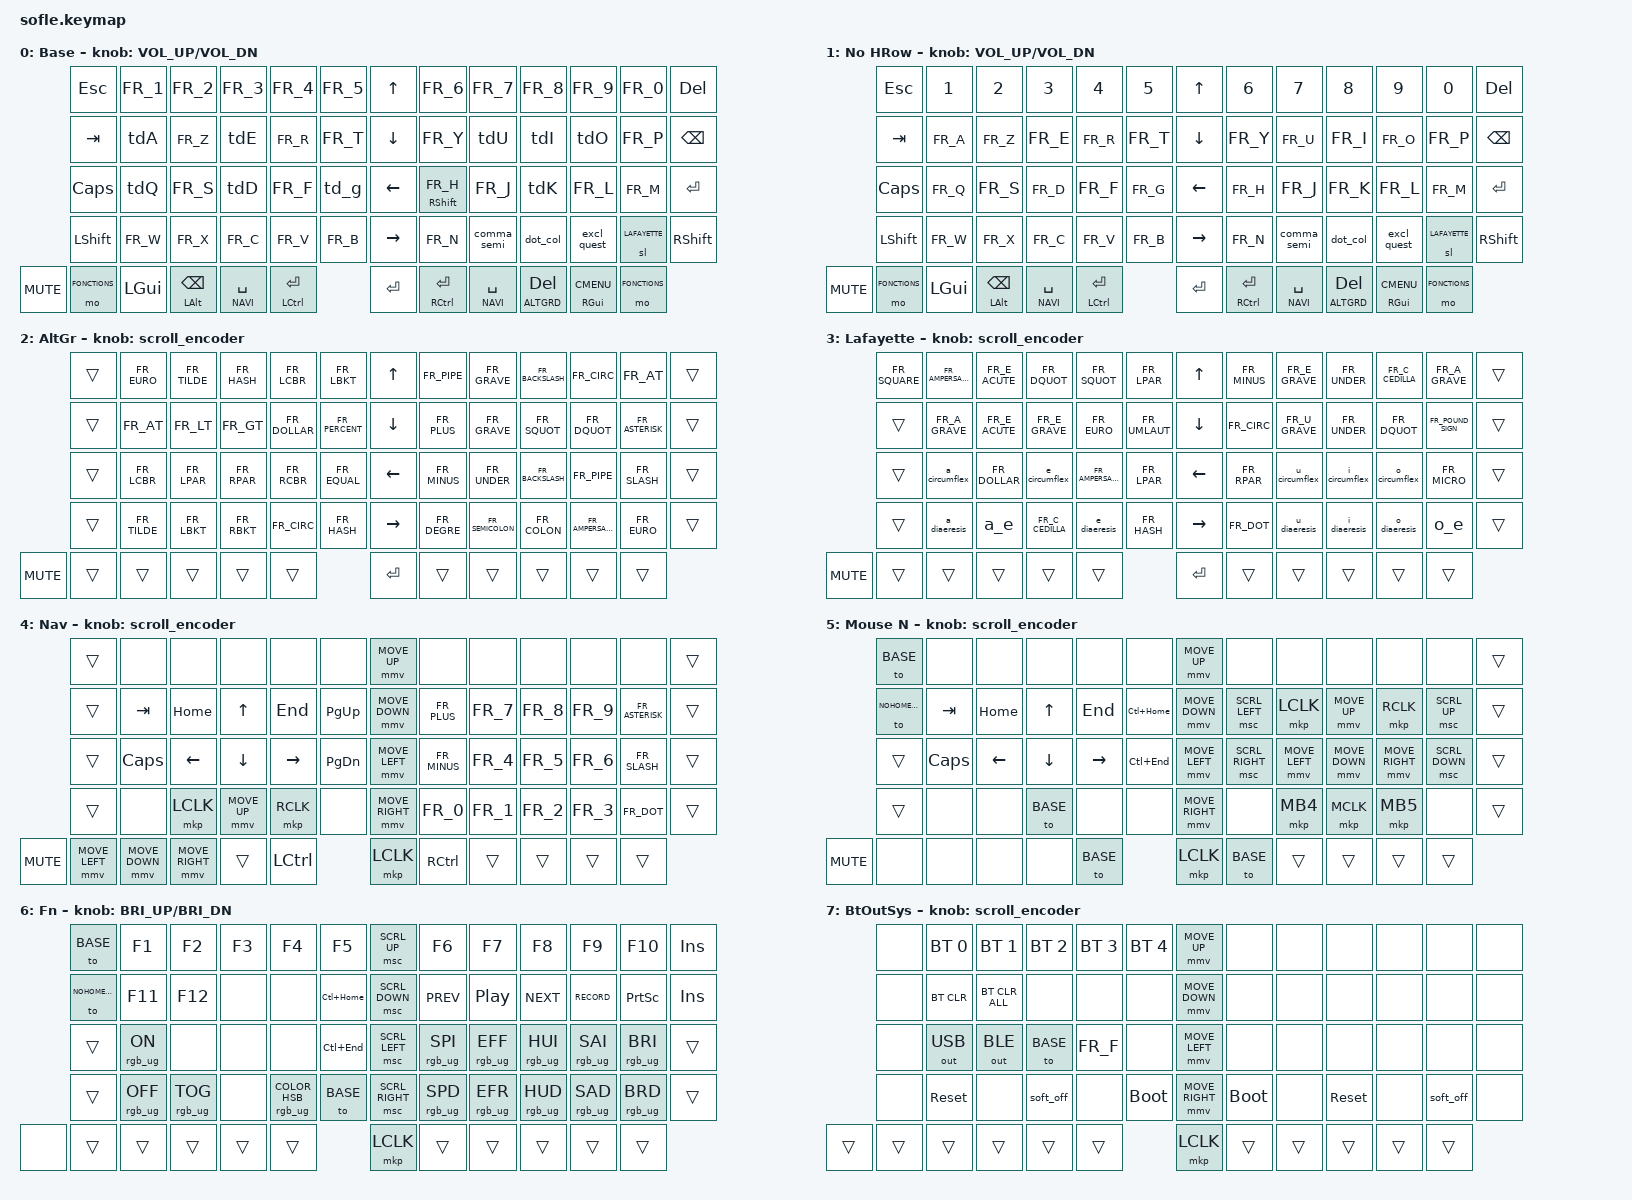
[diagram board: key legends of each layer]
#include <behaviors/mouse_keys.dtsi>
#include <behaviors.dtsi>
#include <dt-bindings/zmk/bt.h>
#include <dt-bindings/zmk/keys.h>
#include <dt-bindings/zmk/mouse.h>
#include <dt-bindings/zmk/outputs.h>
#include <dt-bindings/zmk/rgb.h>

// #include "locale/keys_fr.h"
#include "locale/keymap_fr.h"

#define ZMK_MOUSE_DEFAULT_MOVE_VAL 1200  // 600
#define ZMK_MOUSE_DEFAULT_SCRL_VAL 200    // 10

#define BASE 0
#define NOHOMEROW 1
#define ALTGRD 2
#define LAFAYETTE 3
#define NAVI 4
#define MOUSENAVI 5
#define FONCTIONS 6
#define BT_OUT_SYS 7

// #define RGB_UG_CUSTOM &rgb_ug RGB_COLOR_HSB(247,49,30)
#define RGB_UG_CUSTOM &rgb_ug RGB_COLOR_HSB(258,100,66)


#define HM_TAPPING_TERM 200

// &mt {
//     tapping-term-ms = <400>;
// };

/ {

   // Activate BT_OUT_SYS layer by pressing ALTGRD and FONCTIONS
    conditional_layers {
        compatible = "zmk,conditional-layers";
        adajust_layer {
            if-layers = <FONCTIONS ALTGRD>;
            then-layer = <BT_OUT_SYS>;
        };
    };

    behaviors {
        mmv {
            acceleration-exponent = <1>;      // 1
            time-to-max-speed-ms = <900>;     // 40
            delay-ms = <0>;                   // 0
        };

        msc {
            acceleration-exponent = <1>;      // 0
            time-to-max-speed-ms = <400>;     // 500
            delay-ms = <0>;                   // 10
        };

        // tdLCTRL: tap_dance_left_ctrl {
        //     compatible = "zmk,behavior-tap-dance";
        //     #binding-cells = <0>;
        //     tapping-term-ms = <HM_TAPPING_TERM>;
        //     // bindings = <&mt LCTRL BACKSPACE>, <&to MOUSENAVI>;
        //     bindings = <&mt LCTRL ENTER>, <&to MOUSENAVI>;
        // };

        // tdRCTRL: tap_dance_right_ctrl {
        //     compatible = "zmk,behavior-tap-dance";
        //     #binding-cells = <0>;
        //     tapping-term-ms = <HM_TAPPING_TERM>;
        //     bindings = <&mt RCTRL ENTER>, <&to MOUSENAVI>;
        // };

        tdA: tap_dance_a_grave {
            compatible = "zmk,behavior-tap-dance";
            #binding-cells = <0>;
            tapping-term-ms = <HM_TAPPING_TERM>;
            bindings = <&kp FR_A>, <&kp FR_A_GRAVE>;
        };
        // tdC: tap_dance_ctrl_c {
        //     compatible = "zmk,behavior-tap-dance";
        //     #binding-cells = <0>;
        //     tapping-term-ms = <HM_TAPPING_TERM>;
        //     bindings = <&kp FR_C>, <&kp LC(FR_C)>;
        // };
        tdD: tap_dance_dollar {
            compatible = "zmk,behavior-tap-dance";
            #binding-cells = <0>;
            tapping-term-ms = <HM_TAPPING_TERM>;
            bindings = <&kp FR_D>, <&kp FR_DOLLAR>;
        };
        tdE: tap_dance_e_aigu_grave {
            compatible = "zmk,behavior-tap-dance";
            #binding-cells = <0>;
            tapping-term-ms = <HM_TAPPING_TERM>;
            bindings = <&kp FR_E>, <&kp FR_E_ACUTE>, <&kp FR_E_GRAVE>;
        };
        tdI: tap_dance_squote {
            compatible = "zmk,behavior-tap-dance";
            #binding-cells = <0>;
            tapping-term-ms = <HM_TAPPING_TERM>;
            bindings = <&kp FR_I>, <&kp FR_SQUOT>;
        };
        tdK: tap_dance_ctrl_slash {
            compatible = "zmk,behavior-tap-dance";
            #binding-cells = <0>;
            tapping-term-ms = <HM_TAPPING_TERM>;
            bindings = <&kp FR_K>, <&kp LC(FR_SLASH)>;
        };
        tdO: tap_dance_dquote {
            compatible = "zmk,behavior-tap-dance";
            #binding-cells = <0>;
            tapping-term-ms = <HM_TAPPING_TERM>;
            bindings = <&kp FR_O>, <&kp FR_DQUOT>;
        };
        tdQ: tap_dance_slash {
            compatible = "zmk,behavior-tap-dance";
            #binding-cells = <0>;
            tapping-term-ms = <HM_TAPPING_TERM>;
            bindings = <&kp FR_Q>, <&kp FR_SLASH>;
        };
        // tdS: tap_dance_slash {
        //     compatible = "zmk,behavior-tap-dance";
        //     #binding-cells = <0>;
        //     tapping-term-ms = <HM_TAPPING_TERM>;
        //     bindings = <&kp FR_S>, <&kp FR_SLASH>;
        // };
        tdU: tap_dance_u_grave {
            compatible = "zmk,behavior-tap-dance";
            #binding-cells = <0>;
            tapping-term-ms = <HM_TAPPING_TERM>;
            bindings = <&kp FR_U>, <&kp FR_U_GRAVE>;
        };
        // tdV: tap_dance_ctrl_v {
        //     compatible = "zmk,behavior-tap-dance";
        //     #binding-cells = <0>;
        //     tapping-term-ms = <HM_TAPPING_TERM>;
        //     bindings = <&kp FR_V>, <&kp LC(FR_V)>;
        // };
        // tdX: tap_dance_ctrl_x {
        //     compatible = "zmk,behavior-tap-dance";
        //     #binding-cells = <0>;
        //     tapping-term-ms = <HM_TAPPING_TERM>;
        //     bindings = <&kp FR_X>, <&kp LC(FR_X)>;
        // };
        // tdZ: tap_dance_z_slash {
        //     compatible = "zmk,behavior-tap-dance";
        //     #binding-cells = <0>;
        //     tapping-term-ms = <HM_TAPPING_TERM>;
        //     bindings = <&kp FR_Z>, <&kp FR_SLASH>;
        // };

//        mt_shift_fr_g: mt_shift_fr_g {
//            compatible = "zmk,behavior-hold-tap";
//            #binding-cells = <0>;
//            label = "MT_LSHIFT_FR_G";
//            flavor = "hold-preferred";
//            tapping-term-ms = <HM_TAPPING_TERM>;
//            bindings = <&kp LSHIFT>, <&kp FR_G>;
//        };

        td_g: td_g {
            compatible = "zmk,behavior-tap-dance";
            #binding-cells = <0>;
            tapping-term-ms = <HM_TAPPING_TERM>;
            bindings = <&mt LSHIFT FR_G>, <&kp FR_EQUAL>;
        };


        tdCommaSemmi: tap_dance_comma_semi {
            compatible = "zmk,behavior-tap-dance";
            #binding-cells = <0>;
            tapping-term-ms = <HM_TAPPING_TERM>;
            bindings = <&kp FR_COMMA>, <&kp FR_SEMICOLON>;
        };
        tdDotCol: tap_dance_dot_col {
            compatible = "zmk,behavior-tap-dance";
            #binding-cells = <0>;
            tapping-term-ms = <HM_TAPPING_TERM>;
            bindings = <&kp FR_DOT>, <&kp FR_COLON>;
        };
        tdExclQuest: tap_dance_excl_quest {
            compatible = "zmk,behavior-tap-dance";
            #binding-cells = <0>;
            tapping-term-ms = <HM_TAPPING_TERM>;
            bindings = <&kp FR_EXCL>, <&kp FR_QUESTION>;
        };
        tdFn: tap_dance_function {
            compatible = "zmk,behavior-tap-dance";
            #binding-cells = <0>;
            tapping-term-ms = <HM_TAPPING_TERM>;
            bindings = <&mo FONCTIONS>, <&sl FONCTIONS>;
        };

        comma_semi: my_comma_semi {
            compatible = "zmk,behavior-mod-morph";
            #binding-cells = <0>;
            // bindings = <&kp FR_COMMA>, <&kp FR_SEMICOLON>;
            bindings = <&tdCommaSemmi>, <&kp FR_SEMICOLON>;
            mods = <(MOD_LSFT|MOD_RSFT)>;
        };
        dot_col: my_dot_colon {
            compatible = "zmk,behavior-mod-morph";
            #binding-cells = <0>;
            // bindings = <&kp FR_DOT>, <&kp FR_COLON>;
            bindings = <&tdDotCol>, <&kp FR_COLON>;
            mods = <(MOD_LSFT|MOD_RSFT)>;
        };
        excl_quest: my_excl_quest {
            compatible = "zmk,behavior-mod-morph";
            #binding-cells = <0>;
            // bindings = <&kp FR_EXCL>, <&kp FR_QUESTION>;
            bindings = <&tdExclQuest>, <&kp FR_QUESTION>;
            mods = <(MOD_LSFT|MOD_RSFT)>;
        };

        hm: homerow_mods {
            compatible = "zmk,behavior-hold-tap";
            #binding-cells = <2>;
            tapping-term-ms = <150>;
            quick-tap-ms = <0>;
            // flavor = "tap-preferred";
            flavor = "balanced";
            bindings = <&kp>, <&kp>;
        };

        macros {

            a_circumflex: a_circumflex{
                compatible = "zmk,behavior-macro";
                #binding-cells = <0>;
                wait-ms = <30>;
                tap-ms = <40>;
                bindings = <&kp FR_CIRC &kp FR_A>;
            };
            e_circumflex: e_circumflex{
                compatible = "zmk,behavior-macro";
                #binding-cells = <0>;
                wait-ms = <30>;
                tap-ms = <40>;
                bindings = <&kp FR_CIRC &kp FR_E>;
            };
            i_circumflex: i_circumflex{
                compatible = "zmk,behavior-macro";
                #binding-cells = <0>;
                wait-ms = <30>;
                tap-ms = <40>;
                bindings = <&kp FR_CIRC &kp FR_I>;
            };
            o_circumflex: o_circumflex{
                compatible = "zmk,behavior-macro";
                #binding-cells = <0>;
                wait-ms = <30>;
                tap-ms = <40>;
                bindings = <&kp FR_CIRC &kp FR_O>;
            };
            u_circumflex: u_circumflex{
                compatible = "zmk,behavior-macro";
                #binding-cells = <0>;
                wait-ms = <30>;
                tap-ms = <40>;
                bindings = <&kp FR_CIRC &kp FR_U>;
            };

            a_diaeresis: a_diaeresis{
                compatible = "zmk,behavior-macro";
                #binding-cells = <0>;
                wait-ms = <30>;
                tap-ms = <40>;
                bindings = <&kp FR_UMLAUT &kp FR_A>;
            };
            e_diaeresis: e_diaeresis{
                compatible = "zmk,behavior-macro";
                #binding-cells = <0>;
                wait-ms = <30>;
                tap-ms = <40>;
                bindings = <&kp FR_UMLAUT &kp FR_E>;
            };
            i_diaeresis: i_diaeresis{
                compatible = "zmk,behavior-macro";
                #binding-cells = <0>;
                wait-ms = <30>;
                tap-ms = <40>;
                bindings = <&kp FR_UMLAUT &kp FR_I>;
            };
            o_diaeresis: o_diaeresis{
                compatible = "zmk,behavior-macro";
                #binding-cells = <0>;
                wait-ms = <30>;
                tap-ms = <40>;
                bindings = <&kp FR_UMLAUT &kp FR_O>;
            };
            u_diaeresis: u_diaeresis{
                compatible = "zmk,behavior-macro";
                #binding-cells = <0>;
                wait-ms = <30>;
                tap-ms = <40>;
                bindings = <&kp FR_UMLAUT &kp FR_U>;
            };

            a_e: a_e {
                compatible = "zmk,behavior-macro";
                #binding-cells = <0>;
                wait-ms = <30>;
                tap-ms = <40>;
                bindings
                    = <&macro_press   &kp LCTRL &kp LSHIFT>
                    , <&macro_tap     &kp U>
                    , <&macro_release &kp LCTRL &kp LSHIFT>
                    // , <&macro_tap     &kp N0 &kp N0 &kp E &kp N6>
                    , <&macro_tap     &kp FR_0 &kp FR_0 &kp E &kp FR_6 &kp ENTER>
                    ;
            };

            o_e: o_e {
                compatible = "zmk,behavior-macro";
                #binding-cells = <0>;
                wait-ms = <30>;
                tap-ms = <40>;
                bindings
                    = <&macro_press   &kp LCTRL &kp LSHIFT>
                    , <&macro_tap     &kp U>
                    , <&macro_release &kp LCTRL &kp LSHIFT>
                    // , <&macro_tap     &kp N0 &kp N1 &kp N5 &kp N3>
                    , <&macro_tap     &kp FR_0 &kp FR_1 &kp FR_5 &kp FR_3 &kp ENTER>
                    ;
            };

        };

    };

    scroll_encoder: scroll_encoder {
        compatible = "zmk,behavior-sensor-rotate";
        #sensor-binding-cells = <0>;
        bindings = <&msc SCRL_DOWN>, <&msc SCRL_UP>;

        tap-ms = <30>;
    };

    keymap {
        compatible = "zmk,keymap";

        Base {
// -------------------------------------------------------------------------------------------------------------------------------------------------------------------------------------------------------------------------------------------
// |            |      ESC       |        1       |        2       |        3       |        4       |        5       |   UP_ARROW     |        6       |        7       |        8       |        9       |        0       |      DEL       |
// |            |      TAB       |       tdA      |        Z       |       tdE      |        R       |        T       |   DOWN_ARROW   |        Y       |       tdU      |       tdI      |       tdO      |        P       |      BKSPC     |
// |            |     CAPS       |       tdQ      |        S       |       tdD      |        F       | &mt LSHIFT G = |   LEFT_ARROW   |  &mt RSHIFT H  |        J       |       tdK      |        L       |        M       |      ENTER     |
// |            |     LSHFT      |        W       |        X       |        C       |        V       |        B       |   RIGHT_ARROW  |        N       |      ,  ;      |       . :      |       ! ?      | &sl LAFAYETTE  |      SHIFT     |
// | C_MUTE     |                | &mo FONCTIONS  |    LEFT_GUI    | LALT BACKSPACE | &lt NAVI SPACE |  LCTRL ENTER   |      ENTER     |  RCTRL ENTER   | &lt NAVI SPACE | &lt ALTGRD DEL |     K_CMENU    | &mo FONCTIONS  |                |

            bindings = <
                 &kp ESC          &kp FR_1         &kp FR_2         &kp FR_3         &kp FR_4         &kp FR_5         &kp UP_ARROW     &kp FR_6         &kp FR_7         &kp FR_8         &kp FR_9         &kp FR_0         &kp DELETE
                 &kp TAB          &tdA             &kp FR_Z         &tdE             &kp FR_R         &kp FR_T         &kp DOWN_ARROW   &kp FR_Y         &tdU             &tdI             &tdO             &kp FR_P         &kp BACKSPACE
                 &kp CAPS         &tdQ             &kp FR_S         &tdD             &kp FR_F         &td_g            &kp LEFT_ARROW   &mt RSHIFT FR_H  &kp FR_J         &tdK             &kp FR_L         &kp FR_M         &kp ENTER
                 &kp LSHFT        &kp FR_W         &kp FR_X         &kp FR_C         &kp FR_V         &kp FR_B         &kp RIGHT_ARROW  &kp FR_N         &comma_semi      &dot_col         &excl_quest      &sl LAFAYETTE    &kp RSHFT
&kp C_MUTE                        &mo FONCTIONS    &kp LEFT_GUI   &mt LALT BACKSPACE &lt NAVI SPACE   &mt LCTRL ENTER  &kp ENTER        &mt RCTRL ENTER  &lt NAVI SPACE  &lt ALTGRD DELETE &mt RIGHT_GUI K_CMENU  &mo FONCTIONS

            >;

            sensor-bindings = <&inc_dec_kp C_VOLUME_UP C_VOL_DN>;
            display-name = "Base";
        };

        NoHomeRow {
// -------------------------------------------------------------------------------------------------------------------------------------------------------------------------------------------------------------------------------------------
// |            |      ESC       |        N1      |        N2      |        N3      |        N4      |        N5      |   UP_ARROW     |        N6      |        N7      |        N8      |        N9      |        N0      |      DEL       |
// |            |      TAB       |        A       |        Z       |        E       |        R       |        T       |   DOWN_ARROW   |        Y       |        U       |        I       |        O       |        P       |      BKSPC     |
// |            |     CAPS       |        Q       |        S       |        D       |        F       |        G       |   LEFT_ARROW   |        H       |        J       |        K       |        L       |        M       |      ENTER     |
// |            |     LSHFT      |        W       |        X       |        C       |        V       |        B       |   RIGHT_ARROW  |        N       |      ,  ;      |       . :      |       ! ?      | &sl LAFAYETTE  |      SHIFT     |
// | C_MUTE     |                | &mo FONCTIONS  |    LEFT_GUI    | LALT BACKSPACE | &lt NAVI SPACE |  LCTRL ENTER   |      ENTER     |  RCTRL ENTER   | &lt NAVI SPACE | &lt ALTGRD DEL |     K_CMENU    | &mo FONCTIONS  |                |

            bindings = <
                 &kp ESC          &kp N1           &kp N2           &kp N3           &kp N4           &kp N5           &kp UP_ARROW     &kp N6           &kp N7           &kp N8           &kp N9           &kp N0           &kp DELETE
                 &kp TAB          &kp FR_A         &kp FR_Z         &kp FR_E         &kp FR_R         &kp FR_T         &kp DOWN_ARROW   &kp FR_Y         &kp FR_U         &kp FR_I         &kp FR_O         &kp FR_P         &kp BACKSPACE
                 &kp CAPS         &kp FR_Q         &kp FR_S         &kp FR_D         &kp FR_F         &kp FR_G         &kp LEFT_ARROW   &kp FR_H         &kp FR_J         &kp FR_K         &kp FR_L         &kp FR_M         &kp ENTER
                 &kp LSHFT        &kp FR_W         &kp FR_X         &kp FR_C         &kp FR_V         &kp FR_B         &kp RIGHT_ARROW  &kp FR_N         &comma_semi      &dot_col         &excl_quest      &sl LAFAYETTE    &kp RSHFT
&kp C_MUTE                        &mo FONCTIONS    &kp LEFT_GUI   &mt LALT BACKSPACE &lt NAVI SPACE   &mt LCTRL ENTER  &kp ENTER        &mt RCTRL ENTER  &lt NAVI SPACE  &lt ALTGRD DELETE &mt RIGHT_GUI K_CMENU  &mo FONCTIONS

            >;

            sensor-bindings = <&inc_dec_kp C_VOLUME_UP C_VOL_DN>;
            display-name = "No HRow";
        };

        AltGround {
// -------------------------------------------------------------------------------------------------------------------------------------------------------------------------------------------------------------------------------------------
// |            |                |       €        |        ~       |        #       |        {       |        [       |   UP_ARROW     |        |       |        `       |       \        |        ^       |        @       |                |
// |            |                |       @        |        <       |        >       |        $       |        %       |   DOWN_ARROW   |        +       |        `       |       '        |        "       |        *       |                |
// |            |                |       {        |        (       |        )       |        }       |        =       |   LEFT_ARROW   |        -       |        _       |       \        |        |       |        /       |                |
// |            |                |       ~        |        [       |        ]       |        ^       |        #       |   RIGHT_ARROW  |        °       |        ;       |       :        |        &       |        €       |                |
// | C_MUTE     |                |                |                |                |                |                |      ENTER     |                |                |                |                |                |                |

            bindings = <
                 &trans            &kp FR_EURO     &kp FR_TILDE     &kp FR_HASH      &kp FR_LCBR      &kp FR_LBKT      &kp UP_ARROW     &kp FR_PIPE      &kp FR_GRAVE     &kp FR_BACKSLASH &kp FR_CIRC      &kp FR_AT        &trans
                 &trans            &kp FR_AT       &kp FR_LT        &kp FR_GT        &kp FR_DOLLAR    &kp FR_PERCENT   &kp DOWN_ARROW   &kp FR_PLUS      &kp FR_GRAVE     &kp FR_SQUOT     &kp FR_DQUOT     &kp FR_ASTERISK  &trans
                 &trans            &kp FR_LCBR     &kp FR_LPAR      &kp FR_RPAR      &kp FR_RCBR      &kp FR_EQUAL     &kp LEFT_ARROW   &kp FR_MINUS     &kp FR_UNDER     &kp FR_BACKSLASH &kp FR_PIPE      &kp FR_SLASH     &trans
                 &trans            &kp FR_TILDE    &kp FR_LBKT      &kp FR_RBKT      &kp FR_CIRC      &kp FR_HASH      &kp RIGHT_ARROW  &kp FR_DEGRE     &kp FR_SEMICOLON &kp FR_COLON     &kp FR_AMPERSAND &kp FR_EURO       &trans
&kp C_MUTE                         &trans          &trans           &trans           &trans           &trans           &kp ENTER        &trans           &trans           &trans           &trans           &trans
            >;

            sensor-bindings = <&scroll_encoder>;
            display-name = "AltGr";
        };

        Lafayette {
// -------------------------------------------------------------------------------------------------------------------------------------------------------------------------------------------------------------------------------------------
// |            |       ²        |       &        |       é        |       "        |       '        |        (       |   UP_ARROW     |       -        |       è        |       _        |        ç       |        à       |                |
// |            |                |       à        |       é        |       è        |       €        |        ¨       |   DOWN_ARROW   |       ^        |       ù        |       _        |        "       |        £       |                |
// |            |                |       â        |       $        |       ê        |       &        |        (       |   LEFT_ARROW   |       )        |       û        |       î        |        ô       |        µ       |                |
// |            |                |       ä        |       æ        |       ç        |       ë        |        #       |   RIGHT_ARROW  |       •        |       ü        |       ï        |        ö       |        œ       |                |
// | C_MUTE     |                |                |                |                |                |                |      ENTER     |                |                |                |                |                |                |

            bindings = <
                 &kp FR_SQUARE    &kp FR_AMPERSAND &kp FR_E_ACUTE   &kp FR_DQUOT     &kp FR_SQUOT     &kp FR_LPAR      &kp UP_ARROW     &kp FR_MINUS     &kp FR_E_GRAVE   &kp FR_UNDER     &kp FR_C_CEDILLA &kp FR_A_GRAVE    &trans
                 &trans           &kp FR_A_GRAVE   &kp FR_E_ACUTE   &kp FR_E_GRAVE   &kp FR_EURO      &kp FR_UMLAUT    &kp DOWN_ARROW   &kp FR_CIRC      &kp FR_U_GRAVE   &kp FR_UNDER     &kp FR_DQUOT     &kp FR_POUND_SIGN &trans
                 &trans           &a_circumflex    &kp FR_DOLLAR    &e_circumflex    &kp FR_AMPERSAND &kp FR_LPAR      &kp LEFT_ARROW   &kp FR_RPAR      &u_circumflex    &i_circumflex    &o_circumflex    &kp FR_MICRO      &trans
                 &trans           &a_diaeresis     &a_e             &kp FR_C_CEDILLA &e_diaeresis     &kp FR_HASH      &kp RIGHT_ARROW  &kp FR_DOT       &u_diaeresis     &i_diaeresis     &o_diaeresis     &o_e              &trans
&kp C_MUTE                        &trans           &trans           &trans           &trans           &trans           &kp ENTER        &trans           &trans           &trans           &trans           &trans
            >;

            sensor-bindings = <&scroll_encoder>;
            display-name = "Lafayette";
        };

        Navigation {
// -------------------------------------------------------------------------------------------------------------------------------------------------------------------------------------------------------------------------------------------
// |            |                |                |                |                |                |                |   MOVE_UP      |                |                |                |                |                |                |
// |            |                |     TAB        |      HOME      |    UP_ARROW    |      END       |    PAGE_UP     |   MOVE_DOWN    |       +        |       7        |       8        |       9        |        *       |                |
// |            |                |     CAPS       |   LEFT_ARROW   |   DOWN_ARROW   |  RIGHT_ARROW   |    PAGE_DOWN   |   MOVE_RIGHT   |       -        |       4        |       5        |       6        |        /       |                |
// |            |                |                |      LCLK      |     MOVE_UP    |      RCLK      |                |   MOVE_LEFT    |       0        |       1        |       2        |       3        |        .       |                |
// | C_MUTE     |                |                |   MOVE_LEFT    |    MOVE_DOWN   |   MOVE_RIGHT             |  LCTRL |   LCLK  |  RCTRL |            |                |                |                |                |

            bindings = <
                 &trans           &none            &none            &none            &none            &none            &mmv MOVE_UP     &none            &none            &none            &none            &none            &trans
                 &trans           &kp TAB          &kp HOME         &kp UP_ARROW     &kp END          &kp PAGE_UP      &mmv MOVE_DOWN   &kp FR_PLUS      &kp FR_7         &kp FR_8         &kp FR_9         &kp FR_ASTERISK  &trans
                 &trans           &kp CAPS         &kp LEFT_ARROW   &kp DOWN_ARROW   &kp RIGHT_ARROW  &kp PAGE_DOWN    &mmv MOVE_LEFT   &kp FR_MINUS     &kp FR_4         &kp FR_5         &kp FR_6         &kp FR_SLASH     &trans
                 &trans           &none            &mkp LCLK        &mmv MOVE_UP     &mkp RCLK        &none            &mmv MOVE_RIGHT  &kp FR_0         &kp FR_1         &kp FR_2         &kp FR_3         &kp FR_DOT       &trans
&kp C_MUTE                                         &mmv MOVE_LEFT   &mmv MOVE_DOWN   &mmv MOVE_RIGHT  &trans      &kp LCTRL &mkp LCLK &kp RCTRL  &trans  &trans           &trans           &trans
            >;

            sensor-bindings = <&scroll_encoder>;
            display-name = "Nav";
        };

        MouseNavi {
// -------------------------------------------------------------------------------------------------------------------------------------------------------------------------------------------------------------------------------------------
// |            |    &to BASE    |                |                |                |                |                |   MOVE_UP      |                |                |                |                |                |                |
// |            | &to NOHOMEROW  |     TAB        |      HOME      |    UP_ARROW    |      END       |    LC(HOME)    |   MOVE_DOWN    |   SCRL_LEFT    |      LCLK      |    MOVE_UP     |     RCLK       |     SCRL_UP    |                |
// |            |                |     CAPS       |   LEFT_ARROW   |   DOWN_ARROW   |  RIGHT_ARROW   |    LC(END)     |   MOVE_RIGHT   |   SCRL_RIGHT   |   MOVE_LEFT    |   MOVE_DOWN    |   MOVE_RIGHT   |    SCRL_DOWN   |                |
// |            |                |                |                |                |                |                |   MOVE_LEFT    |                |       MB4      |      RCLK      |      MB5       |                |                |
// | C_MUTE     |                |                |                |                |                |        |  &to base |   LCLK  |  &to base |       |                |                |                |                |                |

            bindings = <
                 &to BASE         &none            &none            &none            &none            &none            &mmv MOVE_UP     &none            &none            &none            &none            &none            &trans
                 &to NOHOMEROW    &kp TAB          &kp HOME         &kp UP_ARROW     &kp END          &kp LC(HOME)     &mmv MOVE_DOWN   &msc SCRL_LEFT   &mkp LCLK        &mmv MOVE_UP     &mkp RCLK        &msc SCRL_UP     &trans
                 &trans           &kp CAPS         &kp LEFT_ARROW   &kp DOWN_ARROW   &kp RIGHT_ARROW  &kp LC(END)      &mmv MOVE_LEFT   &msc SCRL_RIGHT  &mmv MOVE_LEFT   &mmv MOVE_DOWN   &mmv MOVE_RIGHT  &msc SCRL_DOWN   &trans
                 &trans           &none            &none            &to BASE         &none            &none            &mmv MOVE_RIGHT  &none            &mkp MB4         &mkp MCLK        &mkp MB5         &none            &trans
&kp C_MUTE                        &none            &none            &none            &none            &to BASE         &mkp LCLK        &to BASE         &trans           &trans           &trans           &trans
            >;

            sensor-bindings = <&scroll_encoder>;
            display-name = "Mouse N";
        };


        Fonctions {
// -------------------------------------------------------------------------------------------------------------------------------------------------------------------------------------------------------------------------------------------
// |            |    &to BASE    |       F1       |       F2       |       F3       |       F4       |       F5       |   SCRL_UP      |       F6       |       F7       |       F8       |       F9       |       F10      |     INSERT     |
// |            | &to NOHOMEROW  |       F11      |       F12      |                |                |    LC(HOME)    |   SCRL_DOWN    |    C_PREV      |  C_PLAY_PAUSE  |     C_NEXT     |     C_RECORD   |   PRINTSCREEN  |     INSERT     |
// |            |                |     RGB_ON     |                |                |                |    LC(END)     |   SCRL_LEFT    |    RGB_SPI     |    RGB_EFF     |     RGB_HUI    |     RGB_SAI    |     RGB_BRI    |                |
// |            |                |     RGB_OFF    |     RGB_TOG    |                | RGB_UG_CUSTOM  |    &to BASE    |   SCRL_RIGHT   |    RGB_SPD     |    RGB_EFR     |     RGB_HUD    |     RGB_SAD    |     RGB_BRD    |                |
// | C_MUTE     |                |                |                |                |                |                |   LCLK         |                |                |                |                |                |                |

            bindings = <
                 &to BASE         &kp F1           &kp F2           &kp F3           &kp F4           &kp F5           &msc SCRL_UP     &kp F6           &kp F7           &kp F8           &kp F9           &kp F10          &kp INSERT
                 &to NOHOMEROW    &kp F11          &kp F12          &none            &none            &kp LC(HOME)     &msc SCRL_DOWN   &kp C_PREV       &kp C_PLAY_PAUSE &kp C_NEXT       &kp C_RECORD     &kp PRINTSCREEN  &kp INSERT
                 &trans           &rgb_ug RGB_ON   &none            &none            &none            &kp LC(END)      &msc SCRL_LEFT   &rgb_ug RGB_SPI  &rgb_ug RGB_EFF  &rgb_ug RGB_HUI  &rgb_ug RGB_SAI  &rgb_ug RGB_BRI  &trans
                 &trans           &rgb_ug RGB_OFF  &rgb_ug RGB_TOG  &none            RGB_UG_CUSTOM    &to BASE         &msc SCRL_RIGHT  &rgb_ug RGB_SPD  &rgb_ug RGB_EFR  &rgb_ug RGB_HUD  &rgb_ug RGB_SAD  &rgb_ug RGB_BRD  &trans
&none                             &trans           &trans           &trans           &trans           &trans           &mkp LCLK        &trans           &trans           &trans           &trans           &trans
            >;

            sensor-bindings = <&inc_dec_kp C_BRI_UP C_BRI_DN>;
            display-name = "Fn";
        };

        // TODO: à compléter / le F n'est là que pour tester
        BtOutSys {
// -------------------------------------------------------------------------------------------------------------------------------------------------------------------------------------------------------------------------------------------
// |            |                |  BT_SEL 0      |   BT_SEL 1     |   BT_SEL 2     |   BT_SEL 3     |   BT_SEL 4     |   MOVE_UP      |                |                |                |                |                |                |
// |            |                |  BT_CLR        |   BT_CLR_ALL   |                |                |                |   MOVE_DOWN    |                |                |                |                |                |                |
// |            |                |  OUT_USB       |   OUT_BLE      |   &to BASE     |        F       |                |   MOVE_RIGHT   |                |                |                |                |                |                |
// |            |                |  sys_reset     |                |   soft_off     |                |  bootloader    |   MOVE_LEFT    |   bootloader   |                |   sys_reset    |                |   soft_off     |                |
// | C_MUTE     |                |                |                |                |                |                |   LCLK         |                |                |                |                |                |                |

            bindings = <
                 &none            &bt BT_SEL 0     &bt BT_SEL 1     &bt BT_SEL 2     &bt BT_SEL 3     &bt BT_SEL 4     &mmv MOVE_UP     &none            &none            &none            &none            &none            &none
                 &none            &bt BT_CLR       &bt BT_CLR_ALL   &none            &none            &none            &mmv MOVE_DOWN   &none            &none            &none            &none            &none            &none
                 &none            &out OUT_USB     &out OUT_BLE     &to BASE         &kp FR_F         &none            &mmv MOVE_LEFT   &none            &none            &none            &none            &none            &none
                 &none            &sys_reset       &none            &soft_off        &none            &bootloader      &mmv MOVE_RIGHT  &bootloader      &none            &sys_reset       &none            &soft_off        &none
&trans                            &trans           &trans           &trans           &trans           &trans           &mkp LCLK        &trans           &trans           &trans           &trans           &trans
            >;

            sensor-bindings = <&scroll_encoder>;
            display-name = "BtOutSys";
        };
    };
};
